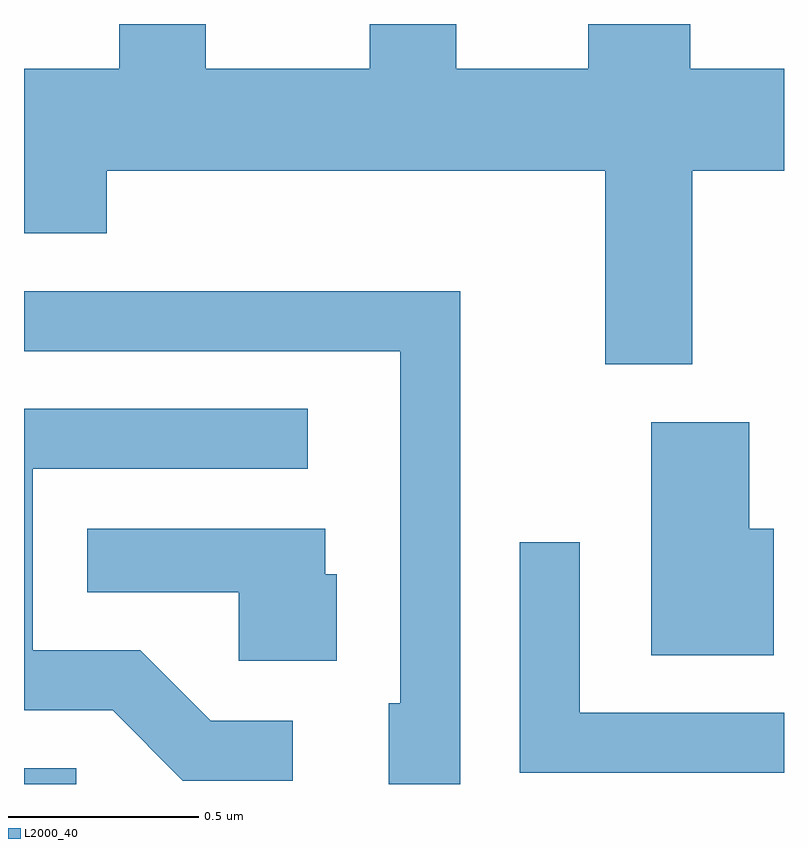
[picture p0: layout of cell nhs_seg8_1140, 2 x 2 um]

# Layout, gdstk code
import gdstk
lib = gdstk.Library(unit=1e-6, precision=1e-09)
def R(c, l, rs):  # rectangles x0, y0, x1, y1
    for r in rs: c.add(gdstk.rectangle(r[:2], r[2:], *l))
def P(c, l, *ps):  # polygons
    for p in ps: c.add(gdstk.Polygon(p, *l))
L2000_40 = (2000, 40)

nhs_seg8_1140 = lib.new_cell('nhs_seg8_1140')
R(nhs_seg8_1140, L2000_40, [(193.611,1850.342,193.749,1850.384)])
P(nhs_seg8_1140, L2000_40, [(195.369,1851.956),(195.611,1851.956),(195.611,1852.224),(195.364,1852.224),(195.364,1852.342),(195.096,1852.342),(195.096,1852.224),(194.749,1852.224),(194.749,1852.342),(194.521,1852.342),(194.521,1852.224),(194.089,1852.224),(194.089,1852.342),(193.861,1852.342),(193.861,1852.224),(193.611,1852.224),(193.611,1851.791),(193.829,1851.791),(193.829,1851.956),(195.141,1851.956),(195.141,1851.446),(195.369,1851.446)],
  [(194.759,1851.639),(193.611,1851.639),(193.611,1851.481),(194.601,1851.481),(194.601,1850.554),(194.571,1850.554),(194.571,1850.342),(194.759,1850.342)],
  [(194.318,1850.509),(194.102,1850.509),(193.917,1850.694),(193.634,1850.694),(193.634,1851.171),(194.358,1851.171),(194.358,1851.329),(193.611,1851.329),(193.611,1850.536),(193.844,1850.536),(194.029,1850.351),(194.318,1850.351)],
  [(195.584,1851.014),(195.519,1851.014),(195.519,1851.294),(195.261,1851.294),(195.261,1850.681),(195.584,1850.681)],
  [(194.434,1850.894),(194.404,1850.894),(194.404,1851.014),(193.778,1851.014),(193.778,1850.846),(194.176,1850.846),(194.176,1850.666),(194.434,1850.666)],
  [(195.611,1850.529),(195.074,1850.529),(195.074,1850.978),(194.916,1850.978),(194.916,1850.371),(195.611,1850.371)])

lib.write_gds('nhs_seg8_1140.gds')
